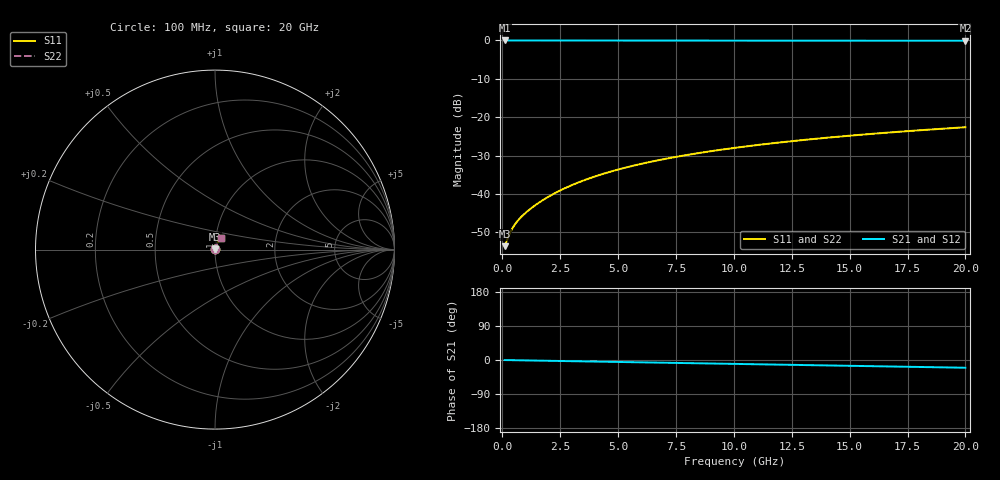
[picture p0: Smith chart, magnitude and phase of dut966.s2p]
! Touchstone file exported from HFSS 2026.1.0
!  File:  C:/ffzhzh/LocalFiles/Ansys_Project_Files/temp_train_TMRDL_966_1783158947_55132.aedt
!  Generated:  05:57:00 PM Jul  4, 2026
!  Design:  TMRDL
!  Project:  temp_train_TMRDL_966_1783158947_55132
! Variables:
!  h_bsmrdl = 2um
!  h_ox = 20um
!  h_rdl = 5um
!  h_sub = 80um
!  h_tmrdl = 2.61um
!  h_tsv = 80um
!  h_via = 3um
!  l_bsmrdl = 300um
!  l_sub = 735.68um
!  l_tmrdl = 335.68um
!  m_sub = 200um
!  pitch = 35.33um
!  r_tsv = 6um
!  s_tmrdl = 10um
!  w_bsmrdl = 18um
!  w_sub = 500um
!  w_tmrdl = 28.19um
!  x_tsv_center1 = 349.775um
!  x_tsv_center2 = 667.775um
!  x_tsv_center3 = 1031.645um
!  x_tsv_center4 = 1349.645um
!  x_tsv_center5 = 1713.515um
!  x_tsv_center6 = 2031.515um
# GHz S MA R 50.000000
! Terminal data exported
! Port[1] = TM_RDL1_1_T1
! Port[2] = TM_RDL1_1_T2
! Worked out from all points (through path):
!   200 points, 100 MHz to 20 GHz, reference 50 ohm
!   highest |S21| = -0.02 dB at 100 MHz (marker M1); lowest = -0.1 dB at 20 GHz (marker M2)
!   group delay of S21, straight-line fit = 2.83 ps
!   lowest |S11| = -53.6 dB at 100 MHz (marker M3), VSWR 1.00, Z = 50.2 + j0.068 ohm
!   |S11| at or under -10 dB: start of sweep to end of sweep
!   |S22| runs from -53.6 to -22.6 dB; largest |S21 - S12| = 2.1e-15
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0.1  0.002098 18.8  0.998 -0.1  0.998 -0.1  0.002098 18.8
! Gamma 0 0 0 0
! Port Impedance 50 0 50 0
0.3  0.002958 39.0  0.9977 -0.3  0.9977 -0.3  0.002958 39.0
0.4  0.003419 43.4  0.9975 -0.5  0.9975 -0.5  0.003419 43.4
0.5  0.003847 46.4  0.9974 -0.6  0.9974 -0.6  0.003847 46.4
0.6  0.004245 48.7  0.9972 -0.7  0.9972 -0.7  0.004244 48.7
0.8  0.004979 52.5  0.997 -0.9  0.997 -0.9  0.004978 52.5
1.1  0.006024 57.2  0.9969 -1.2  0.9969 -1.2  0.006023 57.2
1.3  0.006722 59.8  0.9968 -1.4  0.9968 -1.4  0.006721 59.8
1.6  0.00779 63.0  0.9967 -1.7  0.9967 -1.7  0.007789 63.0
2.2  0.01 67.4  0.9965 -2.3  0.9965 -2.3  0.01 67.4
2.8  0.01229 70.1  0.9964 -2.9  0.9964 -2.9  0.01229 70.1
3.5  0.015 71.9  0.9962 -3.7  0.9962 -3.7  0.015 71.9
4.2  0.01773 72.9  0.996 -4.4  0.996 -4.4  0.01773 72.9
5  0.02085 73.4  0.9957 -5.2  0.9957 -5.2  0.02085 73.4
5.9  0.02434 73.5  0.9953 -6.1  0.9953 -6.1  0.02434 73.5
6.8  0.0278 73.3  0.9949 -7.1  0.9949 -7.1  0.0278 73.3
8.3  0.03349 72.5  0.9943 -8.6  0.9943 -8.6  0.03349 72.5
10.1  0.04016 71.2  0.9934 -10.4  0.9934 -10.4  0.04016 71.3
11.7  0.04595 70.0  0.9926 -12.1  0.9926 -12.1  0.04595 70.0
13.4  0.05196 68.5  0.9917 -13.8  0.9917 -13.8  0.05196 68.6
16.7  0.06326 65.7  0.99 -17.1  0.99 -17.1  0.06326 65.7
20  0.07411 62.7  0.9883 -20.4  0.9883 -20.4  0.07411 62.8
